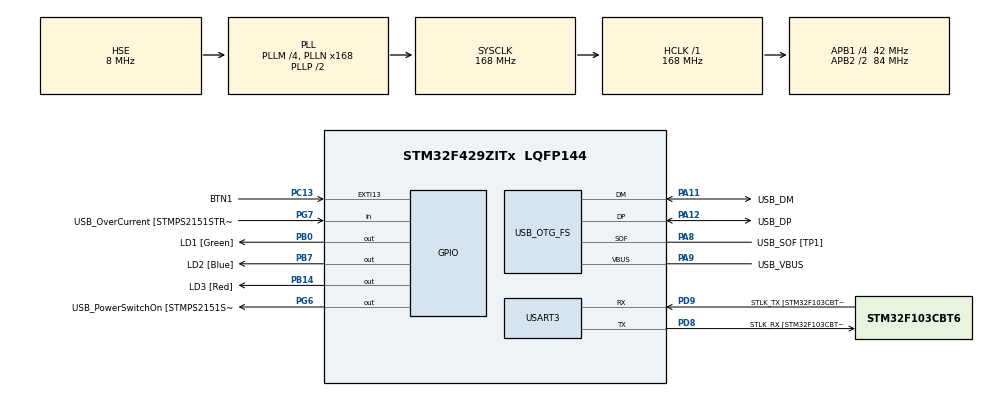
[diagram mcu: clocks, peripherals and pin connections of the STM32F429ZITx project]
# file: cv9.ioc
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Mcu.Family=STM32F4
Mcu.Name=STM32F429ZITx
Mcu.Package=LQFP144
NVIC.OTG_FS_IRQn=true\:0\:0\:false\:false\:true\:false\:true\:true
NVIC.PriorityGroup=NVIC_PRIORITYGROUP_4
PA1.GPIO_Label=RMII_REF_CLK [LAN8742A-CZ-TR_REFCLK0]
PA1.Signal=ETH_REF_CLK
PA10.GPIO_Label=USB_ID
PA10.Signal=USB_OTG_FS_ID
PA11.GPIO_Label=USB_DM
PA11.Mode=Device_Only
PA11.Signal=USB_OTG_FS_DM
PA12.GPIO_Label=USB_DP
PA12.Mode=Device_Only
PA12.Signal=USB_OTG_FS_DP
PA13.GPIO_Label=TMS
PA13.Mode=Serial_Wire
PA13.Signal=SYS_JTMS-SWDIO
PA14.GPIO_Label=TCK
PA14.Mode=Serial_Wire
PA14.Signal=SYS_JTCK-SWCLK
PA2.GPIO_Label=RMII_MDIO [LAN8742A-CZ-TR_MDIO]
PA2.Signal=ETH_MDIO
PA7.GPIO_Label=RMII_CRS_DV [LAN8742A-CZ-TR_CRS_DV]
PA7.Signal=ETH_CRS_DV
PA8.GPIO_Label=USB_SOF [TP1]
PA8.Mode=Activate_SOF_FS
PA8.Signal=USB_OTG_FS_SOF
PA9.GPIO_Label=USB_VBUS
PA9.Mode=Activate_VBUS
PA9.Signal=USB_OTG_FS_VBUS
PB0.GPIO_Label=LD1 [Green]
PB0.Signal=GPIO_Output
PB13.GPIO_Label=RMII_TXD1 [LAN8742A-CZ-TR_TXD1]
PB13.Signal=ETH_TXD1
PB14.GPIO_Label=LD3 [Red]
PB14.Signal=GPIO_Output
PB7.GPIO_Label=LD2 [Blue]
PB7.Signal=GPIO_Output
PC1.GPIO_Label=RMII_MDC [LAN8742A-CZ-TR_MDC]
PC1.Signal=ETH_MDC
PC13.GPIO_Label=BTN1
PC13.Signal=GPXTI13
PC14/OSC32_IN.Mode=LSE-External-Oscillator
PC14/OSC32_IN.Signal=RCC_OSC32_IN
PC15/OSC32_OUT.Mode=LSE-External-Oscillator
PC15/OSC32_OUT.Signal=RCC_OSC32_OUT
PC4.GPIO_Label=RMII_RXD0 [LAN8742A-CZ-TR_RXD0]
PC4.Signal=ETH_RXD0
PC5.GPIO_Label=RMII_RXD1 [LAN8742A-CZ-TR_RXD1]
PC5.Signal=ETH_RXD1
PD8.GPIO_Label=STLK_RX [STM32F103CBT6_PA3]
PD8.Mode=Asynchronous
PD8.Signal=USART3_TX
PD9.GPIO_Label=STLK_TX [STM32F103CBT6_PA2]
PD9.Mode=Asynchronous
PD9.Signal=USART3_RX
PG11.GPIO_Label=RMII_TX_EN [LAN8742A-CZ-TR_TXEN]
PG11.Signal=ETH_TX_EN
PG13.GPIO_Label=RMII_TXD0 [LAN8742A-CZ-TR_TXD0]
PG13.Signal=ETH_TXD0
PG6.GPIO_Label=USB_PowerSwitchOn [STMPS2151STR_EN]
PG6.Signal=GPIO_Output
PG7.GPIO_Label=USB_OverCurrent [STMPS2151STR_FAULT]
PG7.Signal=GPIO_Input
PH0/OSC_IN.GPIO_Label=MCO [STM32F103CBT6_PA8]
PH0/OSC_IN.Mode=HSE-External-Clock-Source
PH0/OSC_IN.Signal=RCC_OSC_IN
PH1/OSC_OUT.Mode=HSE-External-Clock-Source
PH1/OSC_OUT.Signal=RCC_OSC_OUT
ProjectManager.HeapSize=0x200
ProjectManager.StackSize=0x400
ProjectManager.TargetToolchain=STM32CubeIDE
RCC.48MHZClocksFreq_Value=48000000
RCC.AHBFreq_Value=168000000
RCC.APB1CLKDivider=RCC_HCLK_DIV4
RCC.APB1Freq_Value=42000000
RCC.APB1TimFreq_Value=84000000
RCC.APB2CLKDivider=RCC_HCLK_DIV2
RCC.APB2Freq_Value=84000000
RCC.APB2TimCLKDivider=2
RCC.APB2TimFreq_Value=168000000
RCC.CortexFreq_Value=168000000
RCC.HCLKFreq_Value=168000000
RCC.HSE_VALUE=8000000
RCC.HSI_VALUE=16000000
RCC.PLLM=4
RCC.PLLMUL=RCC_PLL_MUL9
RCC.PLLN=168
RCC.PLLQ=7
RCC.PRESCALERUSB=RCC_USBCLKSOURCE_PLL_DIV1_5
RCC.SYSCLKFreq_VALUE=168000000
RCC.SYSCLKSource=RCC_SYSCLKSOURCE_PLLCLK
RCC.SYSCLKSourceVirtual=RCC_SYSCLKSOURCE_PLLCLK
RCC.USBFreq_Value=48000000
RCC.VCOOutputFreq_Value=336000000
USART3.VirtualMode=VM_ASYNC
USB_DEVICE.CLASS_NAME_FS=HID
USB_DEVICE.VirtualMode-HID_FS=Hid
USB_DEVICE.VirtualModeFS=Hid_FS
USB_OTG_FS.VirtualMode=Device_Only
VP_USB_DEVICE_VS_USB_DEVICE_HID_FS.Mode=HID_FS
board=NUCLEO-F429ZI

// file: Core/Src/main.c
/* USER CODE BEGIN Header */
/**
  ******************************************************************************
  * @file           : main.c
  * @brief          : Main program body
  ******************************************************************************
  * @attention
  *
  * Copyright (c) 2024 STMicroelectronics.
  * All rights reserved.
  *
  * This software is licensed under terms that can be found in the LICENSE file
  * in the root directory of this software component.
  * If no LICENSE file comes with this software, it is provided AS-IS.
  *
  ******************************************************************************
  */
/* USER CODE END Header */
#include "main.h"
#include "usb_device.h"

/* USER CODE BEGIN Includes */
#include "usbd_hid.h"
#include <math.h>
/* USER CODE END Includes */

/* USER CODE BEGIN PD */
#define BTN_PRESSED 1
#define BTN_RELEASED 0
/* USER CODE END PD */

UART_HandleTypeDef huart3;

/* USER CODE BEGIN PV */
extern USBD_HandleTypeDef hUsbDeviceFS;
/* USER CODE END PV */

void SystemClock_Config(void);
static void MX_GPIO_Init(void);
static void MX_USART3_UART_Init(void);
/* USER CODE BEGIN PFP */
void step(int x, int y, uint8_t btn);
void draw_circle(float radius, int px, int py, int start_deg, int stop_deg);
/* USER CODE END PFP */

int main(void)
{

  /* MCU Configuration--------------------------------------------------------*/

  /* Reset of all peripherals, Initializes the Flash interface and the Systick. */
  HAL_Init();

  /* Configure the system clock */
  SystemClock_Config();

  /* Initialize all configured peripherals */
  MX_GPIO_Init();
  MX_USART3_UART_Init();
  MX_USB_DEVICE_Init();

  /* Infinite loop */
  /* USER CODE BEGIN WHILE */
  while (1)
  {
	  if(HAL_GPIO_ReadPin(BTN1_GPIO_Port, BTN1_Pin)){
		  draw_circle(6, 0, 0, 0, 360);
		  draw_circle(1, -60, 80, 0, 360);
		  draw_circle(1, 120, 0, 0, 360);
		  step(-60,50,BTN_PRESSED);
		  step(0,50,BTN_PRESSED);
		  step(0,0,BTN_RELEASED);
		  draw_circle(1.5, 23, 0, 90, 270);
		  step(103,0,BTN_RELEASED);
		  draw_circle(3.5, 0, 50, 90, 270);

	  }
    /* USER CODE END WHILE */

  }
}

void SystemClock_Config(void)
{
  RCC_OscInitTypeDef RCC_OscInitStruct = {0};
  RCC_ClkInitTypeDef RCC_ClkInitStruct = {0};

  /** Configure the main internal regulator output voltage
  */
  __HAL_RCC_PWR_CLK_ENABLE();
  __HAL_PWR_VOLTAGESCALING_CONFIG(PWR_REGULATOR_VOLTAGE_SCALE1);

  /** Initializes the RCC Oscillators according to the specified parameters
  * in the RCC_OscInitTypeDef structure.
  */
  RCC_OscInitStruct.OscillatorType = RCC_OSCILLATORTYPE_HSE;
  RCC_OscInitStruct.HSEState = RCC_HSE_BYPASS;
  RCC_OscInitStruct.PLL.PLLState = RCC_PLL_ON;
  RCC_OscInitStruct.PLL.PLLSource = RCC_PLLSOURCE_HSE;
  RCC_OscInitStruct.PLL.PLLM = 4;
  RCC_OscInitStruct.PLL.PLLN = 168;
  RCC_OscInitStruct.PLL.PLLP = RCC_PLLP_DIV2;
  RCC_OscInitStruct.PLL.PLLQ = 7;
  if (HAL_RCC_OscConfig(&RCC_OscInitStruct) != HAL_OK)
  {
    Error_Handler();
  }

  /** Initializes the CPU, AHB and APB buses clocks
  */
  RCC_ClkInitStruct.ClockType = RCC_CLOCKTYPE_HCLK|RCC_CLOCKTYPE_SYSCLK
                              |RCC_CLOCKTYPE_PCLK1|RCC_CLOCKTYPE_PCLK2;
  RCC_ClkInitStruct.SYSCLKSource = RCC_SYSCLKSOURCE_PLLCLK;
  RCC_ClkInitStruct.AHBCLKDivider = RCC_SYSCLK_DIV1;
  RCC_ClkInitStruct.APB1CLKDivider = RCC_HCLK_DIV4;
  RCC_ClkInitStruct.APB2CLKDivider = RCC_HCLK_DIV2;

  if (HAL_RCC_ClockConfig(&RCC_ClkInitStruct, FLASH_LATENCY_5) != HAL_OK)
  {
    Error_Handler();
  }
}

static void MX_USART3_UART_Init(void)
{

  huart3.Instance = USART3;
  huart3.Init.BaudRate = 115200;
  huart3.Init.WordLength = UART_WORDLENGTH_8B;
  huart3.Init.StopBits = UART_STOPBITS_1;
  huart3.Init.Parity = UART_PARITY_NONE;
  huart3.Init.Mode = UART_MODE_TX_RX;
  huart3.Init.HwFlowCtl = UART_HWCONTROL_NONE;
  huart3.Init.OverSampling = UART_OVERSAMPLING_16;
  if (HAL_UART_Init(&huart3) != HAL_OK)
  {
    Error_Handler();
  }

}

static void MX_GPIO_Init(void)
{
  GPIO_InitTypeDef GPIO_InitStruct = {0};

  /* GPIO Ports Clock Enable */
  __HAL_RCC_GPIOC_CLK_ENABLE();
  __HAL_RCC_GPIOH_CLK_ENABLE();
  __HAL_RCC_GPIOA_CLK_ENABLE();
  __HAL_RCC_GPIOB_CLK_ENABLE();
  __HAL_RCC_GPIOD_CLK_ENABLE();
  __HAL_RCC_GPIOG_CLK_ENABLE();

  /*Configure GPIO pin Output Level */
  HAL_GPIO_WritePin(GPIOB, LD1_Pin|LD3_Pin|LD2_Pin, GPIO_PIN_RESET);

  /*Configure GPIO pin Output Level */
  HAL_GPIO_WritePin(USB_PowerSwitchOn_GPIO_Port, USB_PowerSwitchOn_Pin, GPIO_PIN_RESET);

  /*Configure GPIO pin : BTN1_Pin */
  GPIO_InitStruct.Pin = BTN1_Pin;
  GPIO_InitStruct.Mode = GPIO_MODE_IT_RISING;
  GPIO_InitStruct.Pull = GPIO_NOPULL;
  HAL_GPIO_Init(BTN1_GPIO_Port, &GPIO_InitStruct);

  /*Configure GPIO pins : RMII_MDC_Pin RMII_RXD0_Pin RMII_RXD1_Pin */
  GPIO_InitStruct.Pin = RMII_MDC_Pin|RMII_RXD0_Pin|RMII_RXD1_Pin;
  GPIO_InitStruct.Mode = GPIO_MODE_AF_PP;
  GPIO_InitStruct.Pull = GPIO_NOPULL;
  GPIO_InitStruct.Speed = GPIO_SPEED_FREQ_VERY_HIGH;
  GPIO_InitStruct.Alternate = GPIO_AF11_ETH;
  HAL_GPIO_Init(GPIOC, &GPIO_InitStruct);

  /*Configure GPIO pins : RMII_REF_CLK_Pin RMII_MDIO_Pin RMII_CRS_DV_Pin */
  GPIO_InitStruct.Pin = RMII_REF_CLK_Pin|RMII_MDIO_Pin|RMII_CRS_DV_Pin;
  GPIO_InitStruct.Mode = GPIO_MODE_AF_PP;
  GPIO_InitStruct.Pull = GPIO_NOPULL;
  GPIO_InitStruct.Speed = GPIO_SPEED_FREQ_VERY_HIGH;
  GPIO_InitStruct.Alternate = GPIO_AF11_ETH;
  HAL_GPIO_Init(GPIOA, &GPIO_InitStruct);

  /*Configure GPIO pins : LD1_Pin LD3_Pin LD2_Pin */
  GPIO_InitStruct.Pin = LD1_Pin|LD3_Pin|LD2_Pin;
  GPIO_InitStruct.Mode = GPIO_MODE_OUTPUT_PP;
  GPIO_InitStruct.Pull = GPIO_NOPULL;
  GPIO_InitStruct.Speed = GPIO_SPEED_FREQ_LOW;
  HAL_GPIO_Init(GPIOB, &GPIO_InitStruct);

  /*Configure GPIO pin : RMII_TXD1_Pin */
  GPIO_InitStruct.Pin = RMII_TXD1_Pin;
  GPIO_InitStruct.Mode = GPIO_MODE_AF_PP;
  GPIO_InitStruct.Pull = GPIO_NOPULL;
  GPIO_InitStruct.Speed = GPIO_SPEED_FREQ_VERY_HIGH;
  GPIO_InitStruct.Alternate = GPIO_AF11_ETH;
  HAL_GPIO_Init(RMII_TXD1_GPIO_Port, &GPIO_InitStruct);

  /*Configure GPIO pin : USB_PowerSwitchOn_Pin */
  GPIO_InitStruct.Pin = USB_PowerSwitchOn_Pin;
  GPIO_InitStruct.Mode = GPIO_MODE_OUTPUT_PP;
  GPIO_InitStruct.Pull = GPIO_NOPULL;
  GPIO_InitStruct.Speed = GPIO_SPEED_FREQ_LOW;
  HAL_GPIO_Init(USB_PowerSwitchOn_GPIO_Port, &GPIO_InitStruct);

  /*Configure GPIO pin : USB_OverCurrent_Pin */
  GPIO_InitStruct.Pin = USB_OverCurrent_Pin;
  GPIO_InitStruct.Mode = GPIO_MODE_INPUT;
  GPIO_InitStruct.Pull = GPIO_NOPULL;
  HAL_GPIO_Init(USB_OverCurrent_GPIO_Port, &GPIO_InitStruct);

  /*Configure GPIO pins : RMII_TX_EN_Pin RMII_TXD0_Pin */
  GPIO_InitStruct.Pin = RMII_TX_EN_Pin|RMII_TXD0_Pin;
  GPIO_InitStruct.Mode = GPIO_MODE_AF_PP;
  GPIO_InitStruct.Pull = GPIO_NOPULL;
  GPIO_InitStruct.Speed = GPIO_SPEED_FREQ_VERY_HIGH;
  GPIO_InitStruct.Alternate = GPIO_AF11_ETH;
  HAL_GPIO_Init(GPIOG, &GPIO_InitStruct);

}

/* USER CODE BEGIN 4 */
void step(int x, int y, uint8_t btn){
	  uint8_t buff[4];
	  buff[0] = 0x00 | btn;
	  buff[1] = (int8_t)(x); // shift X +10
	  buff[2] = (int8_t)(y); // shift Y -3
	  buff[3] = 0; // no scroll
	  USBD_HID_SendReport(&hUsbDeviceFS, buff, sizeof(buff));
	  HAL_Delay(USBD_HID_GetPollingInterval(&hUsbDeviceFS));
}

void draw_circle(float radius, int px, int py, int start_deg, int stop_deg){
	float x = 0, y = 0;

	step(px, py, BTN_RELEASED);

	for (float i = start_deg; i <= stop_deg; i++){
		x = round(radius * cos(i*(M_PI/180)));
		y = round(radius * sin(i*(M_PI/180)));

		step((int)x, (int)y, 1);
	}
	step(0,0,BTN_RELEASED);
}
/* USER CODE END 4 */

void Error_Handler(void)
{
  __disable_irq();
  while (1)
  {
  }
}
